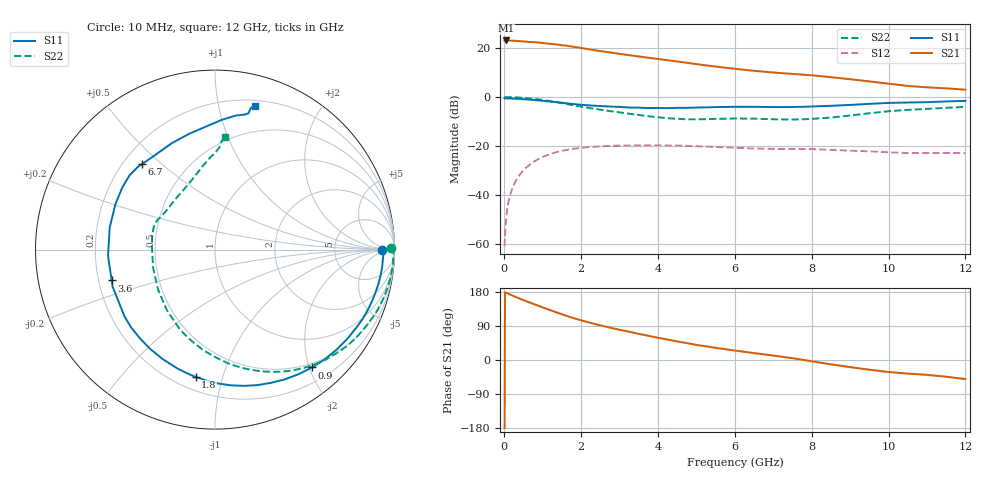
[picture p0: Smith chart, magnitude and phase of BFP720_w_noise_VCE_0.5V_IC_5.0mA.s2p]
! Infineon Technologies  Discrete & RF Semiconductors
! BFP720
! VCE =  0.5 V,  IC =  5.0 mA
! Common Emitter S-Parameters:  Aug 2012
# GHz  S  MA  R  50
!  f  S11  S21  S12  S22
! GHz  MAG  ANG  MAG  ANG  MAG  ANG  MAG  ANG
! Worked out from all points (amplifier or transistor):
!   105 points, 10 MHz to 12 GHz, reference 50 ohm
!   highest |S21| = 23.1 dB at 50 MHz (marker M1)
!   |S21| within 3 dB of that: start of sweep to 1.973 GHz
!   unconditionally stable (mu >= 1): start of sweep to 10.18 MHz; 6.851 GHz to end of sweep
!   at 300 MHz: K = 0.04, MSG = 28.6 dB, |S12| = -34.2 dB
!   at 3.6 GHz: K = 0.48, MSG = 18.0 dB, |S12| = -19.7 dB
!   at 12 GHz: K = 1.10, MAG = 11.1 dB, |S12| = -23.0 dB
!   lowest NFmin = 0.39 dB at 450 MHz
!   S11 on the Smith chart (normalised r, x): 10 MHz: 29, -2; 900 MHz: 0.43, -2.05; 1.8 GHz: 0.28, -0.82; 3.6 GHz: 0.25, -0.14; 6.7 GHz: 0.27, +0.43; 12 GHz: 0.25, +1.29
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0.01  0.9326 -0.3  13.99 -179.6  0.0009 -22.8  0.9828 0.6
0.02  0.9406 -1.1  14.05 178.9  0.0015 93.4  0.9948 -0.8
0.05  0.937 -3.0  14.26 177.5  0.0032 88.5  0.9939 -2.2
0.2  0.931 -11.4  14.12 170.7  0.0129 83.2  0.99 -9.0
0.5  0.9011 -28.2  13.59 157.9  0.0318 72.8  0.9598 -22.4
0.9  0.8507 -50.5  12.9 142.6  0.0544 59.3  0.892 -40.1
1.1  0.8208 -61.8  12.41 135.1  0.0642 52.7  0.8478 -48.9
1.3  0.7909 -72.7  11.95 127.8  0.0725 46.5  0.8004 -57.3
1.6  0.7458 -88.8  11.21 117.2  0.0823 37.9  0.7261 -69.1
1.8  0.7177 -98.7  10.58 110.7  0.0874 32.7  0.6791 -76.6
2.1  0.6837 -111.5  9.718 102.1  0.0928 25.7  0.6165 -86.7
2.4  0.6607 -123.2  8.901 93.9  0.097 19.6  0.5653 -96.4
2.8  0.6374 -137.1  8.007 84.2  0.1005 12.5  0.5091 -108.1
3.6  0.6008 -163.4  6.561 67.0  0.1032 0.5  0.4194 -131.6
4.1  0.5942 -179.7  5.833 56.8  0.103 -5.9  0.3789 -148.5
5  0.6097 155.6  4.697 39.8  0.0991 -16.2  0.3509 179.6
6.1  0.6302 137.7  3.692 23.6  0.0913 -24.3  0.3633 158.4
6.7  0.6267 130.7  3.315 15.6  0.0882 -26.9  0.3568 150.9
8.5  0.661 102.6  2.538 -11.5  0.0833 -37.6  0.3806 116.2
9.5  0.724 87.0  2.083 -25.6  0.0776 -41.5  0.4657 99.0
10.5  0.7713 77.4  1.681 -35.9  0.0717 -43.3  0.5458 89.3
12  0.8333 74.4  1.408 -50.3  0.0711 -46.8  0.628 85.0
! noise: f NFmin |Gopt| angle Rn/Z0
0.45  0.39  0.49  4  0.18
1.8  0.49  0.47  25  0.14
2.4  0.53  0.34  60  0.19
5.5  0.68  0.22  65  0.13
10  0.97  0.4  -93  0.22
